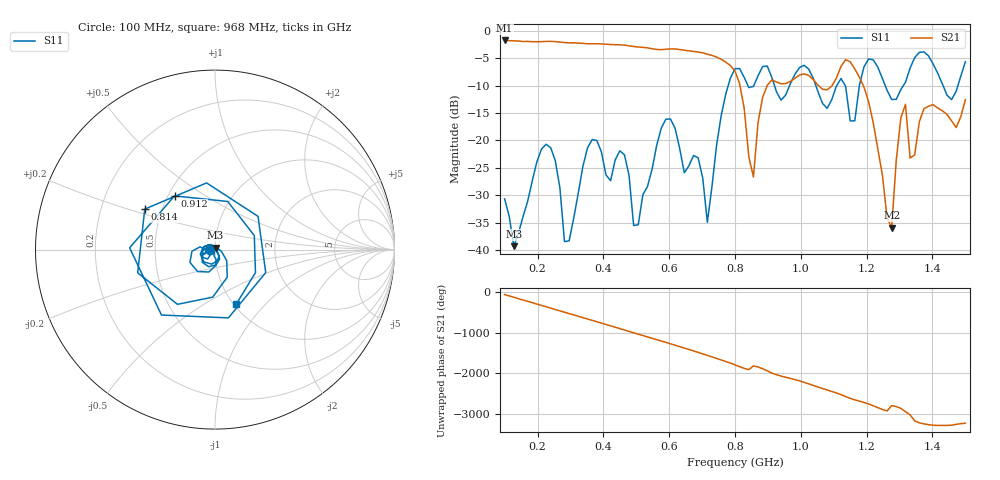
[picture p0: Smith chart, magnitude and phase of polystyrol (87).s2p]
! NanoVNA-App
! Date: 2025-09-26 09:42:33
! Start: 100MHz Stop: 1,5GHz Points: 101
! S-Parameter data: F S11 S21 S12 S22
# Hz S RI R 50
!  Frequency  S11_Real  S11_Imag  S21_Real  S21_Imag  S12_Real  S12_Imag  S22_Real  S22_Imag
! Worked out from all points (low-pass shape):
!   101 points, 100 MHz to 1.5 GHz, reference 50 ohm
!   highest |S21| = -1.79 dB at 100 MHz (marker M1); lowest = -35.9 dB at 1.276 GHz (marker M2)
!   |S21| within 3 dB of the highest: start of sweep to 743.2 MHz
!   lowest |S11| = -39.3 dB at 128 MHz (marker M3), VSWR 1.02, Z = 50.3 + j1.05 ohm
!   |S11| at or under -10 dB: start of sweep to 779.4 MHz; 1.046 GHz to 1.109 GHz (63.85 MHz wide, 5.93 % of centre); 1.256 GHz to 1.312 GHz (55.37 MHz wide, 4.31 % of centre)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
!   S12 and S22 are empty: the file has one direction only
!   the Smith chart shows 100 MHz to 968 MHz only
!   S11 on the Smith chart (normalised r, x): 100 MHz: 0.94, -0.01; 814 MHz: 0.40, +0.23; 912 MHz: 0.54, +0.38; 968 MHz: 1.03, -0.70
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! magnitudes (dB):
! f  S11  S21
! 100 MHz  -30.7  -1.8
! 128 MHz  -39.3  -1.9
! 212 MHz  -21.6  -2.0
! 254 MHz  -23.7  -2.0
! 282 MHz  -38.4  -2.2
! 338 MHz  -24.7  -2.3
! 464 MHz  -22.6  -2.6
! 506 MHz  -35.4  -3.0
! 576 MHz  -17.8  -3.5
! 688 MHz  -23.2  -3.9
! 716 MHz  -34.9  -4.3
! 800 MHz  -6.9  -7.4
! 814 MHz  -6.9  -9.6
! 856 MHz  -10.2  -26.7
! 912 MHz  -8.5  -9.0
! 968 MHz  -9.7  -9.3
! 1.038 GHz  -8.7  -8.9
! 1.178 GHz  -9.9  -8.5
! 1.276 GHz  -12.6  -35.9
! 1.318 GHz  -9.4  -13.4
! 1.332 GHz  -6.8  -23.2
! 1.5 GHz  -5.7  -12.6
